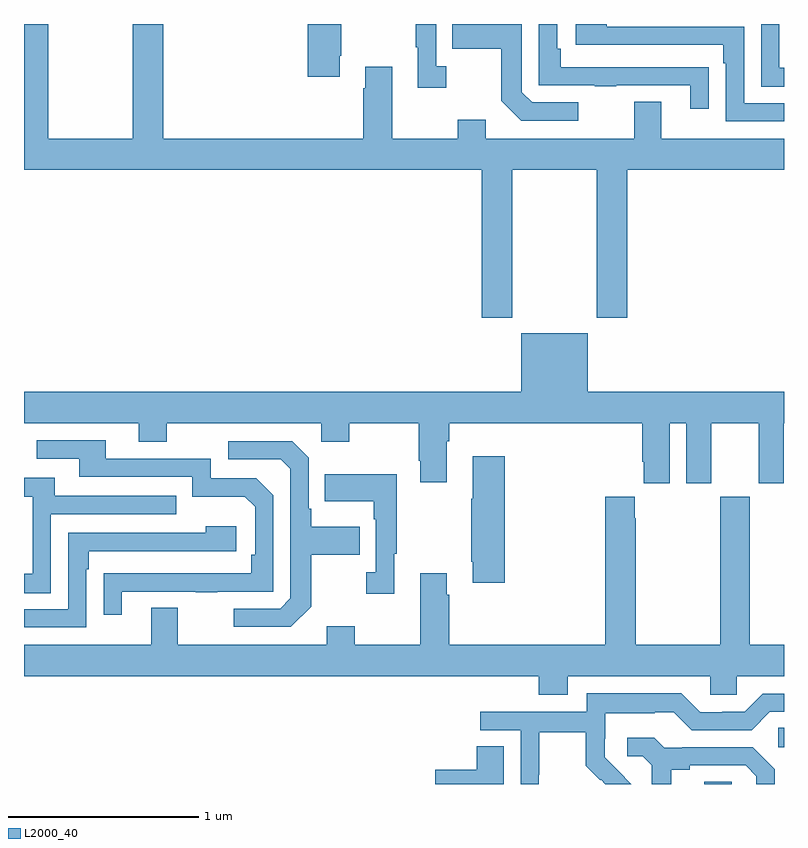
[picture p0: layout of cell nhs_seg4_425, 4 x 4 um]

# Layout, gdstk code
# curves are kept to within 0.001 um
import gdstk
lib = gdstk.Library(unit=1e-6, precision=1e-09)
def R(c, l, rs):  # rectangles x0, y0, x1, y1
    for r in rs: c.add(gdstk.rectangle(r[:2], r[2:], *l))
def P(c, l, *ps):  # polygons
    for p in ps: c.add(gdstk.Polygon(p, *l))
L2000_40 = (2000, 40)

nhs_seg4_425 = lib.new_cell('nhs_seg4_425')
R(nhs_seg4_425, L2000_40, [(134.579,814.9,134.724,814.913), (134.97,815.094,135,815.195)])
P(nhs_seg4_425, L2000_40, [(132.661,818.734),(132.669,818.734),(132.669,818.9),(132.494,818.9),(132.494,818.622),(132.661,818.622)],
  [(133.222,818.678),(133.17,818.678),(133.17,818.9),(133.062,818.9),(133.062,818.777),(133.073,818.777),(133.073,818.565),(133.222,818.565)],
  [(134.603,818.672),(134.501,818.672),(134.501,818.673),(133.826,818.673),(133.826,818.77),(133.806,818.77),(133.806,818.9),(133.71,818.9),(133.71,818.577),(134.005,818.577),(134.005,818.572),(134.117,818.572),(134.117,818.577),(134.507,818.577),(134.507,818.454),(134.603,818.454)],
  [(133.918,818.487),(133.674,818.487),(133.62,818.541),(133.62,818.9),(133.255,818.9),(133.255,818.77),(133.512,818.77),(133.512,818.497),(133.617,818.391),(133.918,818.391)],
  [(133.569,818.132),(134.014,818.132),(134.014,817.353),(134.174,817.353),(134.174,818.132),(135,818.132),(135,818.296),(134.353,818.296),(134.353,818.491),(134.213,818.491),(134.213,818.296),(133.429,818.296),(133.429,818.395),(133.282,818.395),(133.282,818.296),(132.937,818.296),(132.937,818.674),(132.797,818.674),(132.797,818.561),(132.785,818.561),(132.785,818.296),(131.732,818.296),(131.732,818.9),(131.572,818.9),(131.572,818.296),(131.127,818.296),(131.127,818.9),(131,818.9),(131,818.132),(133.409,818.132),(133.409,817.353),(133.569,817.353)],
  [(135,818.484),(134.79,818.484),(134.79,818.886),(134.066,818.886),(134.066,818.9),(133.905,818.9),(133.905,818.79),(134.681,818.79),(134.681,818.693),(134.694,818.693),(134.694,818.388),(135,818.388)],
  [(135,818.67),(134.976,818.67),(134.976,818.9),(134.88,818.9),(134.88,818.569),(135,818.569)],
  [(134.398,816.8),(134.486,816.8),(134.486,816.483),(134.617,816.483),(134.617,816.8),(134.867,816.8),(134.867,816.483),(134.998,816.483),(134.998,816.8),(135,816.8),(135,816.964),(133.966,816.964),(133.966,817.273),(133.616,817.273),(133.616,816.964),(131,816.964),(131,816.8),(131.603,816.8),(131.603,816.701),(131.751,816.701),(131.751,816.8),(132.564,816.8),(132.564,816.701),(132.711,816.701),(132.711,816.8),(133.078,816.8),(133.078,816.601),(133.085,816.601),(133.085,816.489),(133.225,816.489),(133.225,816.704),(133.238,816.704),(133.238,816.8),(134.255,816.8),(134.255,816.595),(134.261,816.595),(134.261,816.483),(134.398,816.483)],
  [(131.515,815.913),(131.905,815.913),(131.905,815.908),(132.017,815.908),(132.017,815.913),(132.312,815.913),(132.312,816.42),(132.222,816.51),(131.982,816.51),(131.982,816.612),(131.431,816.612),(131.431,816.708),(131.067,816.708),(131.067,816.612),(131.291,816.612),(131.291,816.516),(131.886,816.516),(131.886,816.413),(132.163,816.413),(132.216,816.36),(132.216,816.106),(132.196,816.106),(132.196,816.009),(131.419,816.008),(131.419,815.79),(131.515,815.79)],
  [(132.511,815.833),(132.511,816.106),(132.767,816.106),(132.767,816.253),(132.511,816.253),(132.511,816.349),(132.498,816.349),(132.498,816.618),(132.411,816.705),(132.075,816.705),(132.075,816.609),(132.351,816.609),(132.402,816.558),(132.402,815.877),(132.348,815.823),(132.105,815.823),(132.105,815.727),(132.405,815.727)],
  [(133.529,816.625),(133.361,816.625),(133.361,816.401),(133.354,816.401),(133.354,816.07),(133.361,816.07),(133.361,815.958),(133.529,815.958)],
  [(132.949,816.113),(132.961,816.113),(132.961,816.529),(132.583,816.529),(132.583,816.389),(132.84,816.389),(132.84,816.293),(132.852,816.293),(132.852,816.014),(132.801,816.014),(132.801,815.901),(132.949,815.901)],
  [(131.142,816.321),(131.801,816.321),(131.801,816.417),(131.161,816.417),(131.161,816.511),(131,816.511),(131,816.411),(131.046,816.411),(131.046,816.006),(131,816.006),(131,815.905),(131.142,815.905)],
  [(133.861,815.468),(134.613,815.468),(134.613,815.37),(134.751,815.37),(134.751,815.468),(135,815.468),(135,815.632),(134.82,815.632),(134.82,816.412),(134.665,816.412),(134.665,815.632),(134.22,815.632),(134.22,816.299),(134.215,816.299),(134.215,816.412),(134.06,816.412),(134.06,815.632),(133.238,815.632),(133.238,815.897),(133.225,815.897),(133.225,816.01),(133.085,816.01),(133.085,815.632),(132.741,815.632),(132.741,815.731),(132.593,815.731),(132.593,815.632),(131.809,815.632),(131.809,815.827),(131.669,815.827),(131.669,815.632),(131,815.632),(131,815.468),(133.709,815.468),(133.709,815.369),(133.861,815.369)],
  [(131.328,816.029),(131.341,816.029),(131.341,816.126),(132.118,816.126),(132.118,816.256),(131.957,816.256),(131.957,816.222),(131.232,816.222),(131.232,815.82),(131,815.82),(131,815.724),(131.328,815.724)],
  [(133.71,814.948),(133.713,814.948),(133.713,815.172),(133.957,815.172),(133.957,814.997),(134.034,814.92),(134.037,814.923),(134.06,814.9),(134.196,814.9),(134.056,815.042),(134.056,815.139),(134.058,815.139),(134.058,815.273),(134.321,815.273),(134.321,815.277),(134.421,815.277),(134.514,815.184),(134.829,815.184),(134.925,815.28),(135,815.28),(135,815.376),(134.889,815.376),(134.793,815.28),(134.675,815.28),(134.675,815.277),(134.559,815.277),(134.459,815.377),(133.962,815.377),(133.962,815.28),(133.401,815.28),(133.401,815.184),(133.614,815.184),(133.614,814.9),(133.71,814.9)],
  [(134.407,814.976),(134.503,814.976),(134.503,814.998),(134.798,814.998),(134.855,814.941),(134.855,814.9),(134.952,814.9),(134.952,814.978),(134.836,815.094),(134.464,815.094),(134.464,815.091),(134.37,815.091),(134.318,815.143),(134.175,815.143),(134.175,815.046),(134.256,815.046),(134.303,814.999),(134.303,814.9),(134.407,814.9)],
  [(133.525,815.099),(133.382,815.099),(133.382,814.976),(133.164,814.976),(133.164,814.9),(133.525,814.9)])

lib.write_gds('nhs_seg4_425.gds')
